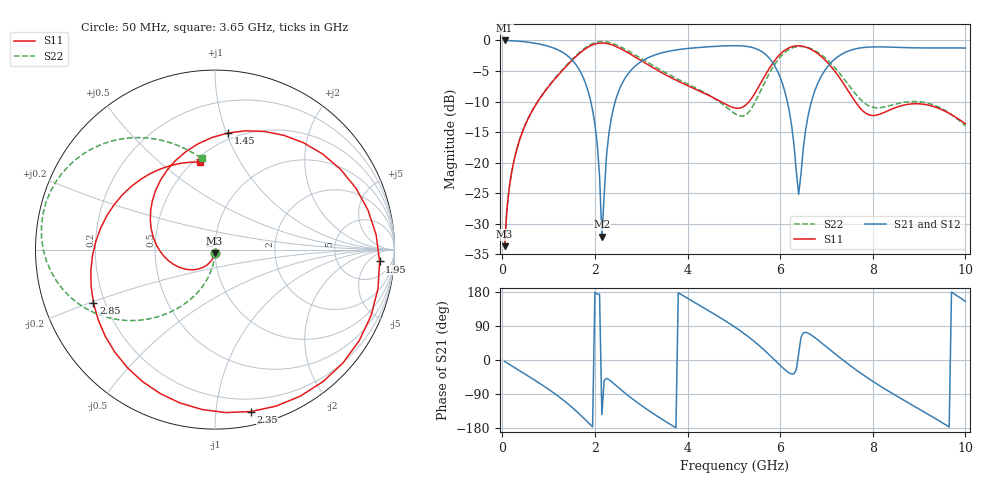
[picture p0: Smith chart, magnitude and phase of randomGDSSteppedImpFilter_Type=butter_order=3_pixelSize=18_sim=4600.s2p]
! freq	dB(S11)	phase(S11)	dB(S12)	phase(S12)
!  dB(S21)	phase(S21)	dB(S22)	phase(S22)
!S-par simulation data
#  GHz  S  DB  R 50
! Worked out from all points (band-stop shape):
!   200 points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, 50 MHz to 10 GHz, reference 50 ohm
!   highest |S21| = -0.01 dB at 50 MHz (marker M1); lowest = -32.1 dB at 2.15 GHz (marker M2)
!   |S21| within 3 dB of the highest: 3.102 GHz to 5.775 GHz (2.673 GHz wide, 60.2 % of centre); 7.189 GHz to end of sweep (the widest 2 of 3)
!   lowest |S11| = -33.7 dB at 50 MHz (marker M3), VSWR 1.04, Z = 49.8 - j2.05 ohm
!   |S11| at or under -10 dB: start of sweep to 767.7 MHz; 4.712 GHz to 5.33 GHz (617.9 MHz wide, 12.3 % of centre); 7.62 GHz to end of sweep
!   |S22| runs from -33.6 to -0.2 dB; largest |S21 - S12| = 0
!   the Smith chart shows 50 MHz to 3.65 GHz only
!   S11 on the Smith chart (normalised r, x): 50 MHz: 1.00, -0.04; 1.45 GHz: 0.45, +1.02; 1.95 GHz: 14, -12; 2.35 GHz: 0.10, -1.24; 2.85 GHz: 0.16, -0.21; 3.65 GHz: 0.54, +0.69
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0.05  -33.68 -95.8  -0.01 -3.8  -0.01 -3.8  -33.59 -91.6
0.4  -15.70 -136.8  -0.16 -30.1  -0.16 -30.1  -15.65 -104.4
1  -7.55 148.8  -0.97 -77.4  -0.97 -77.4  -7.47 -125.2
1.45  -3.68 83.5  -2.78 -119.1  -2.78 -119.1  -3.56 -143.9
1.75  -1.62 32.7  -6.12 -152.5  -6.12 -152.5  -1.45 -161.6
1.95  -0.73 -4.1  -11.42 -176.3  -11.42 -176.3  -0.52 -176.2
2.1  -0.44 -32.2  -22.14 173.5  -22.14 173.5  -0.21 172.2
2.15  -0.42 -41.5  -32.13 -144.1  -32.13 -144.1  -0.19 168.3
2.35  -0.69 -77.6  -12.90 -56.2  -12.90 -56.2  -0.42 153.6
2.85  -2.62 -156.2  -4.34 -106.4  -4.34 -106.4  -2.29 125.7
3.4  -5.10 130.3  -2.13 -152.5  -2.13 -152.5  -4.75 105.7
3.65  -6.12 99.5  -1.69 -171.5  -1.69 -171.5  -5.79 98.3
4.3  -8.42 28.9  -1.12 141.3  -1.12 141.3  -8.26 75.5
5.05  -11.10 -14.7  -0.86 84.6  -0.86 84.6  -12.11 8.3
5.8  -4.18 -36.6  -3.23 9.5  -3.23 9.5  -4.95 -135.1
6.15  -1.37 -76.0  -9.83 -30.3  -9.83 -30.3  -1.69 174.3
6.4  -0.88 -107.5  -25.21 17.0  -25.21 17.0  -0.99 142.4
6.7  -1.60 -145.0  -9.36 63.6  -9.36 63.6  -1.49 109.4
7.4  -7.44 122.5  -1.98 -4.3  -1.98 -4.3  -6.51 56.2
8.35  -11.44 -37.5  -1.09 -83.0  -1.09 -83.0  -10.70 48.7
9.3  -10.78 -113.0  -1.23 -150.7  -1.23 -150.7  -10.52 -5.3
10  -13.65 -144.8  -1.26 154.6  -1.26 154.6  -13.98 -80.1
